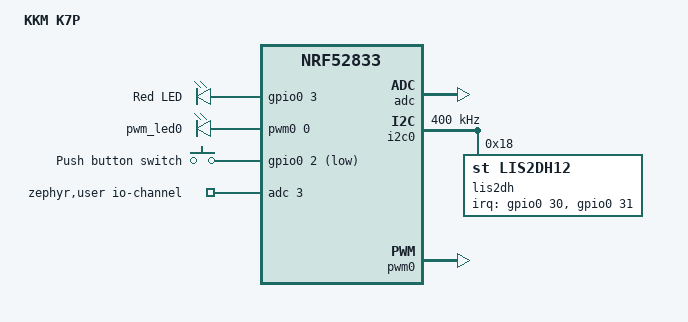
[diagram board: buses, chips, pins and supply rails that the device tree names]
/*
 * Copyright (c) 2024 Blecon Ltd
 * SPDX-License-Identifier: Closed
 */

/dts-v1/;
#include <nordic/nrf52833_qdaa.dtsi>
#include "kkm_k7p-pinctrl.dtsi"
#include <zephyr/dt-bindings/input/input-event-codes.h>

/ {
	model = "KKM K7P";
	compatible = "kkm,kkm-k7p";

	chosen {
		zephyr,console = &uart0;
		zephyr,shell-uart = &uart0;
		zephyr,uart-mcumgr = &uart0;
		zephyr,bt-mon-uart = &uart0;
		zephyr,bt-c2h-uart = &uart0;
		zephyr,sram = &sram0;
		zephyr,flash = &flash0;
		zephyr,code-partition = &slot0_partition;
		zephyr,ieee802154 = &ieee802154;
	};

	leds {
		compatible = "gpio-leds";
		led0: led_0 {
			gpios = <&gpio0 3 GPIO_ACTIVE_HIGH>;
			label = "Red LED";
		};
	};

	pwmleds {
		compatible = "pwm-leds";
		pwm_led0: pwm_led_0 {
			pwms = <&pwm0 0 PWM_MSEC(20) PWM_POLARITY_NORMAL>;
		};
	};

	buttons {
		compatible = "gpio-keys";
		button0: button_0 {
			gpios = <&gpio0 2 (GPIO_PULL_UP | GPIO_ACTIVE_LOW)>;
			label = "Push button switch";
			zephyr,code = <INPUT_KEY_0>;
		};
	};

	zephyr,user {
		io-channels = <&adc 3>;
	};

	/* These aliases are provided for compatibility with samples */
	aliases {
		led0 = &led0;
		pwm-led0 = &pwm_led0;
		sw0 = &button0;
		watchdog0 = &wdt0;
	};
};

&adc {
	status = "okay";
};

&uicr {
	gpio-as-nreset;
};

&gpiote {
	status = "okay";
};

&gpio0 {
	status = "okay";
	gpio-reserved-ranges = <0 2>, <6 1>, <8 1>, <17 7>;
	gpio-line-names = "XL1", "XL2", "LED", "KEY", "", "VBAT", "",
		"", "", "", "", "", "", "",
		"", "", "", "", "RESET", "",
		"", "", "", "","",
		"", "", "", "SDA", "SCL", "INT1", "INT2";
};

&gpio1 {
	status = "okay";
	gpio-line-names = "", "", "", "", "", "", "", "",
		"", "", "", "", "", "", "", "";
};

&uart0 {
	compatible = "nordic,nrf-uarte";
	status = "disabled";
	current-speed = <115200>;
	pinctrl-0 = <&uart0_default>;
	pinctrl-1 = <&uart0_sleep>;
	pinctrl-names = "default", "sleep";
};

&i2c0 {
	compatible = "nordic,nrf-twi";
	status = "okay";
	pinctrl-0 = <&i2c0_default>;
	pinctrl-1 = <&i2c0_sleep>;
	pinctrl-names = "default", "sleep";
	clock-frequency = <I2C_BITRATE_FAST>;

	lis2dh: lis2dh@18 {
		compatible = "st,lis2dh12", "st,lis2dh";
		reg = <0x18>;
		irq-gpios = <&gpio0 30 GPIO_ACTIVE_HIGH>, <&gpio0 31 GPIO_ACTIVE_HIGH>;
		int1-gpio-config = <1>;
		int2-gpio-config = <1>;
		status = "okay";
	};
};

&pwm0 {
	status = "okay";
	pinctrl-0 = <&pwm0_default>;
	pinctrl-1 = <&pwm0_sleep>;
	pinctrl-names = "default", "sleep";
};

&flash0 {
	partitions {
		compatible = "fixed-partitions";
		#address-cells = <1>;
		#size-cells = <1>;

		boot_partition: partition@0 {
			label = "mcuboot";
			reg = <0x00000000 0xC000>;
		};
		slot0_partition: partition@c000 {
			label = "image-0";
			reg = <0x0000C000 0x37000>;
		};
		slot1_partition: partition@43000 {
			label = "image-1";
			reg = <0x00043000 0x37000>;
		};
		storage_partition: partition@7a000 {
			label = "storage";
			reg = <0x0007A000 0x00006000>;
		};
	};
};
